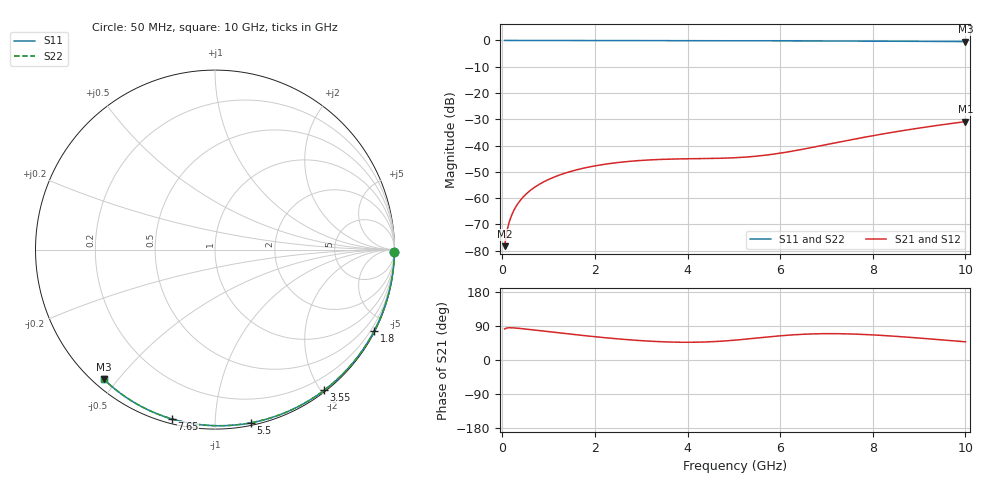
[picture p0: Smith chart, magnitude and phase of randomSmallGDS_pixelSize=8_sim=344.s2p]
! freq	dB(S11)	phase(S11)	dB(S12)	phase(S12)
!  dB(S21)	phase(S21)	dB(S22)	phase(S22)
!S-par simulation data
#  GHz  S  DB  R 50
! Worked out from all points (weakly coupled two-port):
!   200 points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, 50 MHz to 10 GHz, reference 50 ohm
!   highest |S21| = -30.90 dB at 10 GHz (marker M1); lowest = -78.3 dB at 50 MHz (marker M2)
!   lowest |S11| = -0.4 dB at 10 GHz (marker M3), VSWR 40.05, Z = 1.51 - j23 ohm
!   |S11| at or under -10 dB: nowhere
!   |S22| runs from -0.4 to 0.0 dB; largest |S21 - S12| = 0
!   S11 on the Smith chart (normalised r, x): 50 MHz: open; 1.8 GHz: 0.04, -4.15; 3.55 GHz: 0.02, -2.04; 5.5 GHz: 0.02, -1.23; 7.65 GHz: 0.02, -0.78; 10 GHz: 0.03, -0.46
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0.05  -0.00 -0.8  -78.33 82.0  -78.33 82.0  -0.00 -0.8
0.1  -0.00 -1.5  -72.55 84.6  -72.55 84.6  -0.00 -1.5
0.15  -0.00 -2.3  -69.09 85.1  -69.09 85.1  -0.00 -2.3
0.2  -0.00 -3.1  -66.61 85.0  -66.61 85.0  -0.00 -3.1
0.25  -0.00 -3.8  -64.69 84.7  -64.69 84.7  -0.00 -3.8
0.35  -0.00 -5.4  -61.79 83.6  -61.79 83.6  -0.00 -5.4
0.5  -0.01 -7.6  -58.73 81.7  -58.73 81.7  -0.01 -7.6
0.7  -0.01 -10.7  -55.88 79.0  -55.88 79.0  -0.01 -10.7
1  -0.02 -15.2  -52.92 74.8  -52.92 74.8  -0.02 -15.2
1.35  -0.03 -20.4  -50.55 69.9  -50.55 69.9  -0.03 -20.4
1.75  -0.03 -26.4  -48.65 64.6  -48.65 64.6  -0.03 -26.4
1.8  -0.03 -27.1  -48.46 64.0  -48.46 64.0  -0.03 -27.1
2.5  -0.05 -37.3  -46.47 55.7  -46.47 55.7  -0.05 -37.3
3.4  -0.07 -50.1  -45.31 48.4  -45.31 48.4  -0.07 -50.1
3.55  -0.07 -52.2  -45.22 47.7  -45.22 47.7  -0.07 -52.2
4.3  -0.09 -62.5  -44.98 47.3  -44.98 47.3  -0.09 -62.5
5.05  -0.11 -72.4  -44.63 52.7  -44.63 52.7  -0.11 -72.4
5.5  -0.13 -78.2  -44.04 58.0  -44.04 58.0  -0.13 -78.2
6.7  -0.18 -93.1  -40.70 68.9  -40.70 68.9  -0.18 -93.1
7.65  -0.23 -104.3  -37.42 68.2  -37.42 68.2  -0.23 -104.3
8.35  -0.28 -112.3  -35.19 63.7  -35.19 63.7  -0.28 -112.3
10  -0.43 -130.6  -30.90 48.0  -30.90 48.0  -0.43 -130.6
